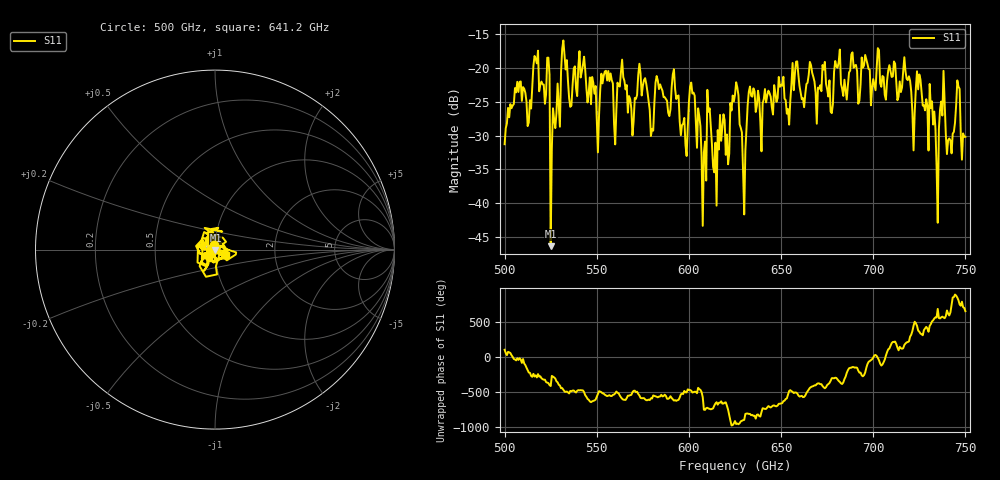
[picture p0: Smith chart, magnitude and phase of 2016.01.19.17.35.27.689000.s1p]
!Created with skrf (http://scikit-rf.org).
# GHz S RI R 50.0
!freq ReS11 ImS11
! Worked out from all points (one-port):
!   401 points, 500 GHz to 750 GHz, reference 50 ohm
!   lowest |S11| = -46.4 dB at 525 GHz (marker M1), VSWR 1.01, Z = 50.3 - j0.399 ohm
!   |S11| at or under -10 dB: start of sweep to end of sweep
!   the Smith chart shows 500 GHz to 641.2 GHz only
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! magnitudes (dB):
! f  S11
! 500 GHz  -31.3
! 507.5 GHz  -23.6
! 513.8 GHz  -24.8
! 516.9 GHz  -18.7
! 523.1 GHz  -18.5
! 525 GHz  -46.4
! 526.2 GHz  -26.0
! 531.2 GHz  -17.2
! 550 GHz  -27.8
! 562.5 GHz  -22.8
! 593.8 GHz  -24.2
! 598.1 GHz  -31.4
! 601.9 GHz  -23.8
! 608.1 GHz  -32.5
! 611.2 GHz  -26.0
! 613.8 GHz  -35.4
! 625 GHz  -24.0
! 630 GHz  -41.7
! 633.8 GHz  -24.1
! 656.2 GHz  -19.3
! 687.5 GHz  -20.4
! 718.8 GHz  -21.8
! 731.9 GHz  -24.9
! 733.8 GHz  -28.9
! 737.5 GHz  -27.0
! 741.2 GHz  -30.4
! 745.6 GHz  -21.9
! 750 GHz  -30.2
